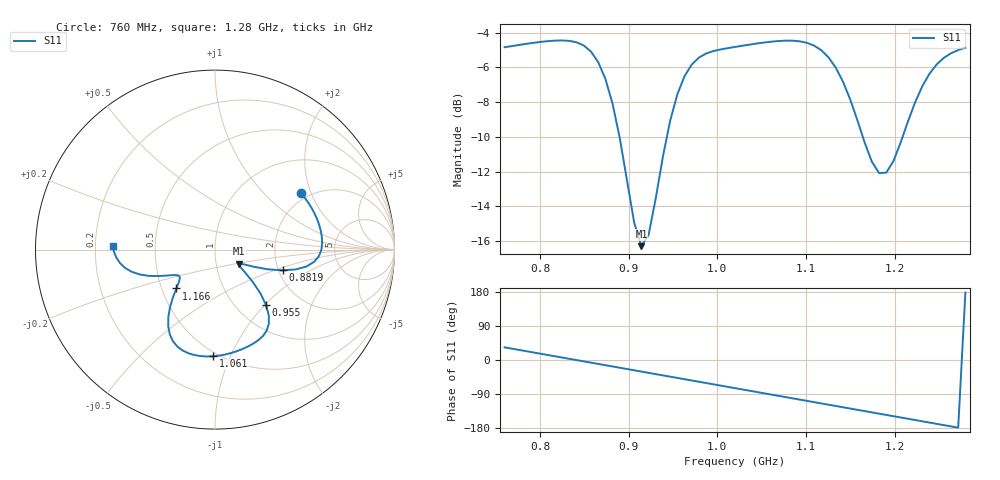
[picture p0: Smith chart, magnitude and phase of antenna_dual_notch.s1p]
! Generated RF sample for VNA Touchstone diagnostics
! Source: local sample generator
# MHZ S MA R 50
! freq S11
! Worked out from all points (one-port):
!   65 points, 760 MHz to 1.28 GHz, reference 50 ohm
!   lowest |S11| = -16.3 dB at 914.4 MHz (marker M1), VSWR 1.36, Z = 64.3 - j10.3 ohm
!   |S11| at or under -10 dB: 889.7 MHz to 943.1 MHz (53.41 MHz wide, 5.83 % of centre); 1.164 GHz to 1.209 GHz (44.82 MHz wide, 3.78 % of centre)
!   S11 on the Smith chart (normalised r, x): 760 MHz: 1.81, +1.70; 881.9 MHz: 2.10, -0.58; 955 MHz: 1.36, -1.02; 1.061 GHz: 0.47, -0.86; 1.166 GHz: 0.60, -0.28; 1.28 GHz: 0.27, +0.02
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760  0.5732 33.4
792.5  0.5901 19.9
825  0.5995 6.5
841.25  0.5922 -0.3
857.5  0.5568 -7.0
873.75  0.4646 -13.7
881.875  0.3938 -17.1
890  0.3137 -20.5
906.25  0.1792 -27.2
914.375  0.1534 -30.6
922.5  0.1653 -33.9
946.875  0.3525 -44.0
955  0.4201 -47.4
963.125  0.4736 -50.7
979.375  0.5353 -57.5
1020  0.5743 -74.3
1060.625  0.5946 -91.1
1085  0.5985 -101.2
1109.375  0.5792 -111.3
1125.625  0.5356 -118.0
1150  0.4056 -128.1
1166.25  0.3052 -134.8
1182.5  0.2491 -141.6
1190.625  0.2495 -144.9
1215  0.3494 -155.0
1231.25  0.4419 -161.7
1247.5  0.5111 -168.5
1280  0.5712 178.1
